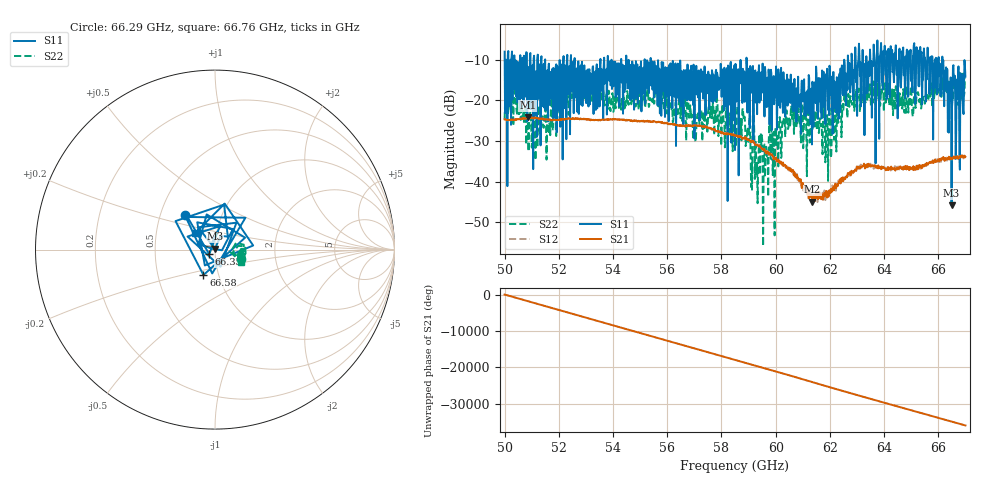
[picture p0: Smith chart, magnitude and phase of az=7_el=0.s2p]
!Created with skrf (http://scikit-rf.org).
# GHz S RI R 50.0
!freq ReS11 ImS11 ReS21 ImS21 ReS12 ImS12 ReS22 ImS22
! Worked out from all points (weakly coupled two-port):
!   1001 points, 50 GHz to 67 GHz, reference 50 ohm
!   highest |S21| = -24.17 dB at 50.85 GHz (marker M1); lowest = -44.9 dB at 61.36 GHz (marker M2)
!   lowest |S11| = -45.8 dB at 66.49 GHz (marker M3), VSWR 1.01, Z = 49.9 + j0.509 ohm
!   |S11| at or under -10 dB: 52.58 GHz to 53.53 GHz (949.3 MHz wide, 1.79 % of centre); 55.39 GHz to 58.92 GHz (3.534 GHz wide, 6.18 % of centre); 58.93 GHz to 62.53 GHz (3.601 GHz wide, 5.93 % of centre) (the widest 3 of 62)
!   |S22| runs from -55.8 to -13.1 dB; largest |S21 - S12| = 0.0022
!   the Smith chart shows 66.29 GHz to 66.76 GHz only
!   S11 on the Smith chart (normalised r, x): 66.29 GHz: 0.67, +0.27; 66.35 GHz: 0.94, -0.05; 66.58 GHz: 0.85, -0.25; 66.76 GHz: 0.79, +0.15
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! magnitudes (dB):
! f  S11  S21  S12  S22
! 50 GHz  -8.0  -24.7  -24.6  -24.6
! 50.15 GHz  -21.5  -24.8  -24.8  -20.3
! 50.85 GHz  -11.7  -24.2  -24.2  -23.8
! 52.84 GHz  -11.9  -24.6  -24.6  -20.4
! 55.68 GHz  -13.1  -25.3  -25.3  -21.5
! 58.5 GHz  -32.2  -28.6  -28.7  -24.7
! 59.61 GHz  -11.8  -32.3  -32.3  -38.9
! 60.34 GHz  -15.0  -35.8  -36.4  -26.0
! 61.34 GHz  -30.8  -43.7  -43.2  -26.0
! 61.36 GHz  -15.4  -44.9  -44.2  -27.5
! 62 GHz  -12.1  -42.7  -42.2  -23.8
! 62.55 GHz  -11.3  -38.9  -39.0  -18.6
! 64.18 GHz  -11.8  -36.6  -36.7  -17.4
! 65.56 GHz  -11.5  -35.8  -36.1  -19.3
! 66.29 GHz  -11.9  -34.6  -34.6  -16.2
! 66.35 GHz  -27.7  -34.4  -34.4  -15.3
! 66.44 GHz  -20.0  -34.0  -34.5  -16.4
! 66.49 GHz  -45.8  -34.2  -34.4  -15.3
! 66.58 GHz  -16.2  -33.8  -33.9  -16.0
! 66.76 GHz  -16.9  -34.1  -34.1  -15.9
! 66.86 GHz  -18.7  -33.5  -34.0  -16.4
! 67 GHz  -14.1  -33.9  -33.8  -14.4
